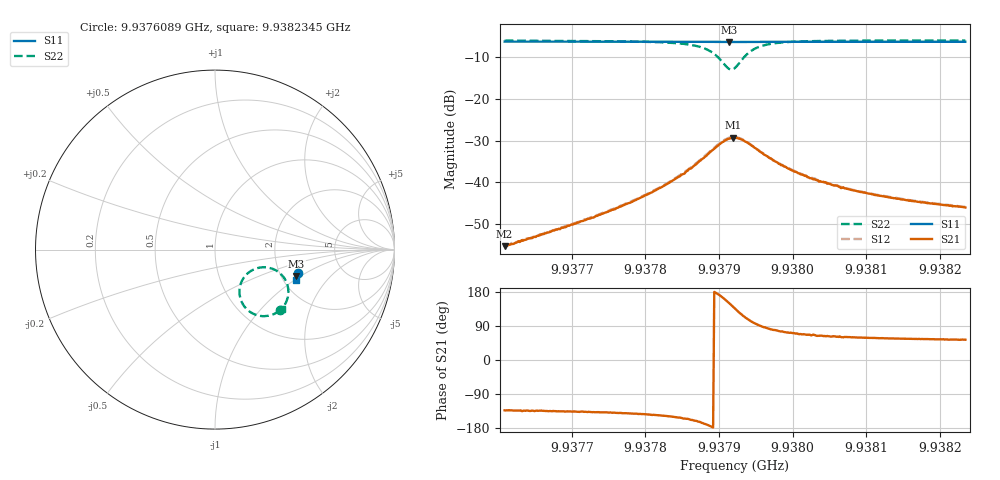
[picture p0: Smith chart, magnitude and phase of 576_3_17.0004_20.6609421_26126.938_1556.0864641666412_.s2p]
#  HZ  S  RI  R  50.00
! Rohde & Schwarz Vector Network Analyzer
! Rohde-Schwarz,ZNB20-2Port,1311601062101988,3.16
! Created: UTC 3/20/2024, 11:17:56 PM
! freq[Hz]  re:S11  im:S11  re:S21  im:S21  re:S12  im:S12  re:S22  im:S22
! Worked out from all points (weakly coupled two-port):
!   401 points, 9.9376089 GHz to 9.9382345 GHz, reference 50 ohm
!   highest |S21| = -29.31 dB at 9.9379186 GHz (marker M1); lowest = -55.2 dB at 9.9376089 GHz (marker M2)
!   lowest |S11| = -6.4 dB at 9.9379139 GHz (marker M3), VSWR 2.82, Z = 121 - j45.9 ohm
!   |S11| at or under -10 dB: nowhere
!   |S22| runs from -13.0 to -6.1 dB; largest |S21 - S12| = 0.0015
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9.93760888e9  0.4649 -0.1285  -0.00118 -0.00127  -0.00123 -0.00129  0.3612 -0.3387
9.93763859e9  0.4642 -0.1306  -0.00143 -0.00152  -0.00152 -0.00151  0.3576 -0.3417
9.93771367e9  0.4623 -0.1357  -0.00247 -0.00241  -0.00256 -0.00239  0.3444 -0.3508
9.93777936e9  0.4604 -0.1403  -0.00446 -0.0036  -0.00459 -0.00363  0.3234 -0.3611
9.93781847e9  0.4593 -0.1429  -0.00706 -0.00475  -0.00722 -0.00471  0.2998 -0.3678
9.93784975e9  0.458 -0.1451  -0.0111 -0.00562  -0.0114 -0.00565  0.2643 -0.3708
9.93787947e9  0.4562 -0.1472  -0.0193 -0.0041  -0.02 -0.00397  0.1991 -0.3495
9.93789042e9  0.4553 -0.1475  -0.024 -0.00146  -0.0247 -0.000891  0.1655 -0.3194
9.93790137e9  0.4545 -0.1477  -0.0285 0.00492  -0.029 0.00592  0.1391 -0.2619
9.93790762e9  0.454 -0.1476  -0.0298 0.0105  -0.0302 0.0117  0.1374 -0.2158
9.93791388e9  0.4537 -0.147  -0.0288 0.0168  -0.0291 0.0182  0.154 -0.1668
9.93791857e9  0.4538 -0.1468  -0.0267 0.0214  -0.0264 0.0227  0.1796 -0.1347
9.9379217e9  0.4539 -0.1467  -0.0245 0.0239  -0.0239 0.0251  0.2018 -0.1179
9.93792952e9  0.4545 -0.1465  -0.0174 0.0279  -0.0167 0.029  0.2637 -0.0985
9.93794047e9  0.4553 -0.1469  -0.00799 0.0281  -0.00711 0.0285  0.3372 -0.1144
9.93795611e9  0.456 -0.1483  -9.33e-06 0.0233  0.000565 0.0233  0.3894 -0.1646
9.93796862e9  0.4561 -0.1495  0.00276 0.0194  0.00315 0.0195  0.4042 -0.1994
9.93798739e9  0.4558 -0.1511  0.00422 0.0151  0.00449 0.0152  0.409 -0.2359
9.9380265e9  0.455 -0.1542  0.00456 0.0101  0.0049 0.0103  0.4023 -0.2768
9.9380656e9  0.4539 -0.1572  0.00423 0.00745  0.00439 0.00768  0.394 -0.2976
9.93813129e9  0.4523 -0.1616  0.0036 0.00555  0.00374 0.00557  0.383 -0.3161
9.93823452e9  0.4495 -0.1683  0.00298 0.00403  0.00313 0.00404  0.3706 -0.3318
